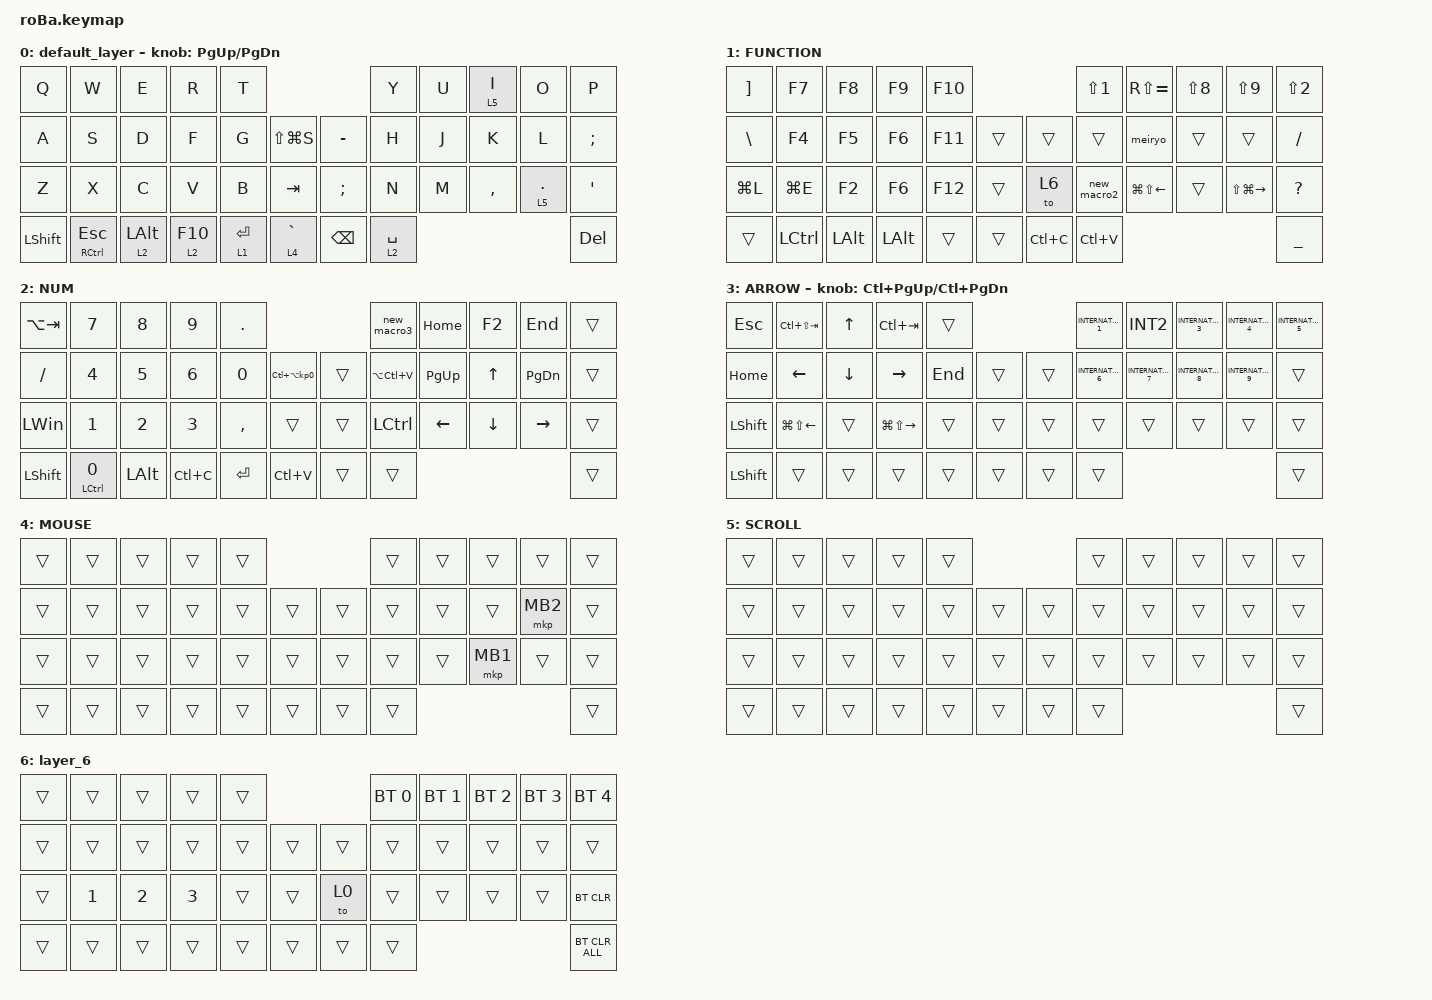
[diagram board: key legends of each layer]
#include <behaviors.dtsi>
#include <dt-bindings/zmk/bt.h>
#include <dt-bindings/zmk/keys.h>
#include <dt-bindings/zmk/pointing.h>

#define MOUSE 4
#define SCROLL 5
#define NUM 6

&mt {
    flavor = "balanced";
    quick-tap-ms = <0>;
};

/ {
    combos {
        compatible = "zmk,combos";

        tab {
            bindings = <&kp TAB>;
            key-positions = <11 12>;
        };

        shift_tab {
            bindings = <&kp LS(TAB)>;
            key-positions = <12 13>;
        };

        muhennkann {
            bindings = <&meiryo INT_MUHENKAN>;
            key-positions = <11 10>;
        };

        double_quotation {
            bindings = <&kp DOUBLE_QUOTES>;
            key-positions = <20 21>;
        };

        eq {
            bindings = <&kp EQUAL>;
            key-positions = <24 25>;
        };
    };

    macros {
        meiryo: to_layer_0 {
            compatible = "zmk,behavior-macro";
            #binding-cells = <0>;
            bindings =
                <&macro_tap>,
                <&kp LC(A) &kp LC(A) &kp LEFT_ALT &kp H &kp F &kp F &kp M &kp E &kp I &kp TAB>;

            label = "TO_LAYER_0";
        };

        new_macro2: new_macro2 {
            compatible = "zmk,behavior-macro";
            #binding-cells = <0>;
            bindings = <&macro_tap>, <&kp LEFT_ALT &kp H &kp H &kp N>;

            label = "NEW_MACRO2";
        };

        new_macro3: new_macro3 {
            compatible = "zmk,behavior-macro";
            #binding-cells = <0>;
            bindings = <&macro_tap>, <&kp LC(LA(V)) &kp V &kp ENTER>;

            label = "NEW_MACRO3";
        };
    };

    behaviors {
        lt_to_layer_0: lt_to_layer_0 {
            compatible = "zmk,behavior-hold-tap";
            label = "LAYER_TAP_TO_0";
            bindings = <&mo>, <&meiryo>;

            #binding-cells = <2>;
            tapping-term-ms = <200>;
        };
    };

    keymap {
        compatible = "zmk,keymap";

        default_layer {
            bindings = <
&kp Q           &kp W             &kp E           &kp R      &kp T                                          &kp Y        &kp U  &lt 5 I    &kp O         &kp P
&kp A           &kp S             &kp D           &kp F      &kp G        &kp LS(LG(S))      &kp MINUS      &kp H        &kp J  &kp K      &kp L         &kp SEMICOLON
&kp Z           &kp X             &kp C           &kp V      &kp B        &kp TAB            &kp SEMICOLON  &kp N        &kp M  &kp COMMA  &lt 5 PERIOD  &kp SINGLE_QUOTE
&kp LEFT_SHIFT  &mt RCTRL ESCAPE  &lt 2 LEFT_ALT  &lt 2 F10  &lt 1 ENTER  &lt 4 GRAVE        &kp BACKSPACE  &lt 2 SPACE                                  &kp DEL
            >;

            sensor-bindings = <&inc_dec_kp PG_UP PAGE_DOWN>;
        };

        FUNCTION {
            bindings = <
&kp RIGHT_BRACKET  &kp F7     &kp F8        &kp F9        &kp F10                         &kp LS(NUMBER_1)  &kp RS(EQUAL)           &kp LS(NUMBER_8)  &kp LS(NUMBER_9)         &kp LS(NUMBER_2)
&kp BACKSLASH      &kp F4     &kp F5        &kp F6        &kp F11  &trans      &trans     &trans            &meiryo                 &trans            &trans                   &kp SLASH
&kp LG(L)          &kp LG(E)  &kp F2        &kp F6        &kp F12  &trans      &to 6      &new_macro2       &kp LG(LS(LEFT_ARROW))  &trans            &kp LS(LG(RIGHT_ARROW))  &kp QUESTION
&trans             &kp LCTRL  &kp LEFT_ALT  &kp LEFT_ALT  &trans   &trans      &kp LC(C)  &kp LC(V)                                                                            &kp UNDERSCORE
            >;
        };

        NUM {
            bindings = <
&kp LA(TAB)     &kp N7              &kp NUMBER_8  &kp N9        &kp PERIOD                                       &new_macro3    &kp HOME        &kp F2          &kp END          &trans
&kp SLASH       &kp NUMBER_4        &kp NUMBER_5  &kp NUMBER_6  &kp N0      &kp LC(LA(KP_NUMBER_0))      &trans  &kp LA(LC(V))  &kp PAGE_UP     &kp UP_ARROW    &kp PAGE_DOWN    &trans
&kp LEFT_WIN    &kp NUMBER_1        &kp NUMBER_2  &kp NUMBER_3  &kp COMMA   &trans                       &trans  &kp LCTRL      &kp LEFT_ARROW  &kp DOWN_ARROW  &kp RIGHT_ARROW  &trans
&kp LEFT_SHIFT  &mt LCTRL NUMBER_0  &kp LEFT_ALT  &kp LC(C)     &kp ENTER   &kp LC(V)                    &trans  &trans                                                          &trans
            >;
        };

        ARROW {
            bindings = <
&kp ESCAPE      &kp LC(LS(TAB))         &kp UP_ARROW    &kp LC(TAB)              &trans                       &kp INTERNATIONAL_1  &kp INT2             &kp INTERNATIONAL_3  &kp INTERNATIONAL_4  &kp INTERNATIONAL_5
&kp HOME        &kp LEFT_ARROW          &kp DOWN_ARROW  &kp RIGHT_ARROW          &kp END  &trans      &trans  &kp INTERNATIONAL_6  &kp INTERNATIONAL_7  &kp INTERNATIONAL_8  &kp INTERNATIONAL_9  &trans
&kp LEFT_SHIFT  &kp LG(LS(LEFT_ARROW))  &trans          &kp LG(LS(RIGHT_ARROW))  &trans   &trans      &trans  &trans               &trans               &trans               &trans               &trans
&kp LEFT_SHIFT  &trans                  &trans          &trans                   &trans   &trans      &trans  &trans                                                                              &trans
            >;

            sensor-bindings = <&inc_dec_kp LC(PAGE_UP) LC(PAGE_DOWN)>;
        };

        MOUSE {
            bindings = <
&trans  &trans  &trans  &trans  &trans                      &trans  &trans  &trans    &trans    &trans
&trans  &trans  &trans  &trans  &trans  &trans      &trans  &trans  &trans  &trans    &mkp MB2  &trans
&trans  &trans  &trans  &trans  &trans  &trans      &trans  &trans  &trans  &mkp MB1  &trans    &trans
&trans  &trans  &trans  &trans  &trans  &trans      &trans  &trans                              &trans
            >;
        };

        SCROLL {
            bindings = <
&trans  &trans  &trans  &trans  &trans                      &trans  &trans  &trans  &trans  &trans
&trans  &trans  &trans  &trans  &trans  &trans      &trans  &trans  &trans  &trans  &trans  &trans
&trans  &trans  &trans  &trans  &trans  &trans      &trans  &trans  &trans  &trans  &trans  &trans
&trans  &trans  &trans  &trans  &trans  &trans      &trans  &trans                          &trans
            >;
        };

        layer_6 {
            bindings = <
&trans  &trans        &trans        &trans        &trans                      &bt BT_SEL 0  &bt BT_SEL 1  &bt BT_SEL 2  &bt BT_SEL 3  &bt BT_SEL 4
&trans  &trans        &trans        &trans        &trans  &trans      &trans  &trans        &trans        &trans        &trans        &trans
&trans  &kp NUMBER_1  &kp NUMBER_2  &kp NUMBER_3  &trans  &trans      &to 0   &trans        &trans        &trans        &trans        &bt BT_CLR
&trans  &trans        &trans        &trans        &trans  &trans      &trans  &trans                                                  &bt BT_CLR_ALL
            >;
        };
    };
};
